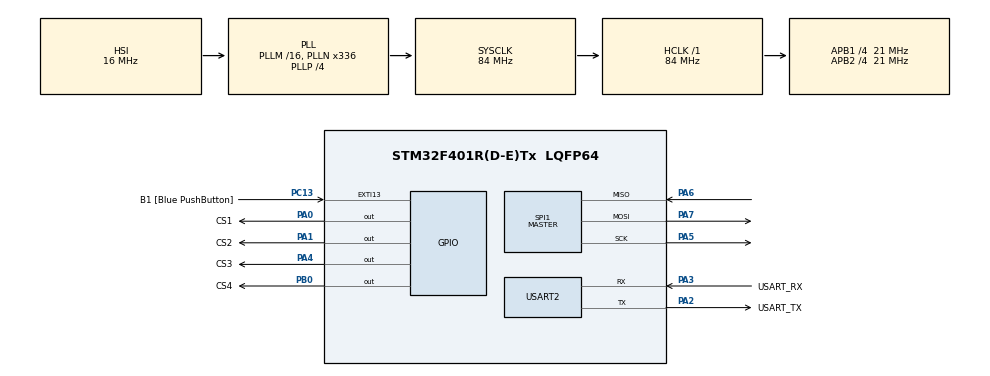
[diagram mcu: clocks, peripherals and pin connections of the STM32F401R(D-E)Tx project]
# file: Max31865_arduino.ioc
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Mcu.Family=STM32F4
Mcu.Name=STM32F401R(D-E)Tx
Mcu.Package=LQFP64
NVIC.PriorityGroup=NVIC_PRIORITYGROUP_0
PA0-WKUP.GPIO_Label=CS1
PA0-WKUP.GPIO_PuPd=GPIO_NOPULL
PA0-WKUP.PinState=GPIO_PIN_SET
PA0-WKUP.Signal=GPIO_Output
PA1.GPIO_Label=CS2
PA1.GPIO_PuPd=GPIO_NOPULL
PA1.PinState=GPIO_PIN_SET
PA1.Signal=GPIO_Output
PA13.GPIO_Label=TMS
PA13.Mode=Serial_Wire
PA13.Signal=SYS_JTMS-SWDIO
PA14.GPIO_Label=TCK
PA14.Mode=Serial_Wire
PA14.Signal=SYS_JTCK-SWCLK
PA2.GPIO_Label=USART_TX
PA2.GPIO_Mode=GPIO_MODE_AF_PP
PA2.GPIO_PuPd=GPIO_NOPULL
PA2.GPIO_Speed=GPIO_SPEED_FREQ_LOW
PA2.Mode=Asynchronous
PA2.Signal=USART2_TX
PA3.GPIO_Label=USART_RX
PA3.GPIO_Mode=GPIO_MODE_AF_PP
PA3.GPIO_PuPd=GPIO_NOPULL
PA3.GPIO_Speed=GPIO_SPEED_FREQ_LOW
PA3.Mode=Asynchronous
PA3.Signal=USART2_RX
PA4.GPIO_Label=CS3
PA4.GPIO_PuPd=GPIO_NOPULL
PA4.PinState=GPIO_PIN_SET
PA4.Signal=GPIO_Output
PA5.Mode=Full_Duplex_Master
PA5.Signal=SPI1_SCK
PA6.Mode=Full_Duplex_Master
PA6.Signal=SPI1_MISO
PA7.Mode=Full_Duplex_Master
PA7.Signal=SPI1_MOSI
PB0.GPIO_Label=CS4
PB0.GPIO_PuPd=GPIO_NOPULL
PB0.PinState=GPIO_PIN_SET
PB0.Signal=GPIO_Output
PB3.GPIO_Label=SWO
PB3.Signal=SYS_JTDO-SWO
PC13-ANTI_TAMP.GPIO_Label=B1 [Blue PushButton]
PC13-ANTI_TAMP.GPIO_ModeDefaultEXTI=GPIO_MODE_IT_FALLING
PC13-ANTI_TAMP.GPIO_PuPd=GPIO_NOPULL
PC13-ANTI_TAMP.Signal=GPXTI13
PC14-OSC32_IN.Mode=LSE-External-Oscillator
PC14-OSC32_IN.Signal=RCC_OSC32_IN
PC15-OSC32_OUT.Mode=LSE-External-Oscillator
PC15-OSC32_OUT.Signal=RCC_OSC32_OUT
PH0\ -\ OSC_IN.Mode=HSE-External-Clock-Source
PH0\ -\ OSC_IN.Signal=RCC_OSC_IN
PH1\ -\ OSC_OUT.Mode=HSE-External-Clock-Source
PH1\ -\ OSC_OUT.Signal=RCC_OSC_OUT
ProjectManager.HeapSize=0x200
ProjectManager.StackSize=0x400
ProjectManager.TargetToolchain=STM32CubeIDE
RCC.48MHZClocksFreq_Value=48000000
RCC.AHBFreq_Value=84000000
RCC.APB1CLKDivider=RCC_HCLK_DIV4
RCC.APB1Freq_Value=21000000
RCC.APB1TimFreq_Value=42000000
RCC.APB2CLKDivider=RCC_HCLK_DIV4
RCC.APB2Freq_Value=21000000
RCC.APB2TimFreq_Value=42000000
RCC.CortexFreq_Value=84000000
RCC.HCLKFreq_Value=84000000
RCC.HSE_VALUE=8000000
RCC.HSI_VALUE=16000000
RCC.PLLN=336
RCC.PLLP=RCC_PLLP_DIV4
RCC.PLLQ=7
RCC.SYSCLKFreq_VALUE=84000000
RCC.SYSCLKSource=RCC_SYSCLKSOURCE_PLLCLK
RCC.VCOOutputFreq_Value=336000000
SPI1.BaudRatePrescaler=SPI_BAUDRATEPRESCALER_256
SPI1.CLKPhase=SPI_PHASE_2EDGE
SPI1.Direction=SPI_DIRECTION_2LINES
SPI1.Mode=SPI_MODE_MASTER
SPI1.VirtualType=VM_MASTER
USART2.VirtualMode=VM_ASYNC
board=NUCLEO-F401RE

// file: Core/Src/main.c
/* USER CODE BEGIN Header */
/**
  ******************************************************************************
  * @file           : main.c
  * @brief          : Main program body
  ******************************************************************************
  * @attention
  *
  * Copyright (c) 2023 STMicroelectronics.
  * All rights reserved.
  *
  * This software is licensed under terms that can be found in the LICENSE file
  * in the root directory of this software component.
  * If no LICENSE file comes with this software, it is provided AS-IS.
  *
  ******************************************************************************
  */
/* USER CODE END Header */
#include <stdio.h>
#include "main.h"
#include "spi.h"
#include "usart.h"
#include "gpio.h"
#include "stm32f4xx_hal.h"

/* USER CODE BEGIN Includes */
#include "MAX31865.h"
#include "Shield_4_MAX31865.h"

/* USER CODE END Includes */

void SystemClock_Config(void);

/* USER CODE BEGIN 0 */
void Shield_NewData(Shield_4_MAX31865_Handler h,uint8_t Channel,float Temp,bool fault, Fault_Status_Register_ts Fault_Status_Register);

void Shield_NewData(Shield_4_MAX31865_Handler h,uint8_t Channel,float Temp,bool fault, Fault_Status_Register_ts Fault_Status_Register)
{
	printf("Ch%d=%.1f (Fault=%d  %d) \r\n",Channel,Temp,fault,Fault_Status_Register.asU8);
}
/* USER CODE END 0 */

int main(void)
{

  /* MCU Configuration--------------------------------------------------------*/

  /* Reset of all peripherals, Initializes the Flash interface and the Systick. */
  HAL_Init();

  /* Configure the system clock */
  SystemClock_Config();

  /* Initialize all configured peripherals */
  MX_GPIO_Init();
  MX_USART2_UART_Init();
  MX_SPI1_Init();

  /* USER CODE BEGIN 2 */
  Configuration_Register_ts MaxConf =
  {
	  .RTD_3Wire = 1,
	  .Filter_Select = 1,
	  .FaultStatusCLear = 0,
	  .Fault_Detection_Cycle_Control = Fault_Detection_Ctl_NoAction,
	  .OneShot = 0,
	  .Vbias = 1,
  };

  Configuration_Register_ts MaxConfArray[4] = {MaxConf,MaxConf,MaxConf,MaxConf};
  MAX31865_Init_ts MAX31865_Init_struct =
  {
	.Handler_Spi = &hspi1,
	.PT100x_Parameters = {	.R0 = 100.0, .A= A_IEC751 , .B = B_IEC751} ,
	.R_Ref = 400.0,
	.HighTempthreshold = 120,
	.LowTempthreshold = -10,
  };

  MAX31865_handler MAX31865Array[4];
  MAX31865Array[0] = MAX31865_Create( &MAX31865_Init_struct ,CS1_GPIO_Port,CS1_Pin );
  MAX31865Array[1] = MAX31865_Create( &MAX31865_Init_struct ,CS2_GPIO_Port,CS2_Pin );
  MAX31865Array[2] = MAX31865_Create( &MAX31865_Init_struct ,CS3_GPIO_Port,CS3_Pin );
  MAX31865Array[3] = MAX31865_Create( &MAX31865_Init_struct ,CS4_GPIO_Port,CS4_Pin );

  Shield_4_MAX31865_Handler Shield_Handler = Shield_4_MAX31865_Create(MAX31865Array ,MaxConfArray);
  Shield_4_MAX31865_Init(Shield_Handler,Shield_NewData);
  Shield_4_MAX31865_DisableChannel(Shield_Handler ,2);
  Shield_4_MAX31865_DisableChannel(Shield_Handler ,3);
  Shield_4_MAX31865_DisableChannel(Shield_Handler ,4);
  Shield_4_MAX31865_SetFilterCoef(Shield_Handler ,1,0.5);
  /* USER CODE END 2 */

  /* Infinite loop */
  while (1)
  {

    /* USER CODE BEGIN 3 */
	  Shield_4_MAX31865_Update(Shield_Handler);
	  if(HAL_GPIO_ReadPin(B1_GPIO_Port, B1_Pin) == GPIO_PIN_RESET )
	  {
		  Shield_4_MAX31865_ClearError(Shield_Handler ,1);
		  Shield_4_MAX31865_ClearError(Shield_Handler ,2);
		  Shield_4_MAX31865_ClearError(Shield_Handler ,3);
		  Shield_4_MAX31865_ClearError(Shield_Handler ,4);
	  }
	  HAL_Delay(25);

	//  printf("\r\n");

  }
  /* USER CODE END 3 */
}

void SystemClock_Config(void)
{
  RCC_OscInitTypeDef RCC_OscInitStruct = {0};
  RCC_ClkInitTypeDef RCC_ClkInitStruct = {0};

  /** Configure the main internal regulator output voltage
  */
  __HAL_RCC_PWR_CLK_ENABLE();
  __HAL_PWR_VOLTAGESCALING_CONFIG(PWR_REGULATOR_VOLTAGE_SCALE2);

  /** Initializes the RCC Oscillators according to the specified parameters
  * in the RCC_OscInitTypeDef structure.
  */
  RCC_OscInitStruct.OscillatorType = RCC_OSCILLATORTYPE_HSI;
  RCC_OscInitStruct.HSIState = RCC_HSI_ON;
  RCC_OscInitStruct.HSICalibrationValue = RCC_HSICALIBRATION_DEFAULT;
  RCC_OscInitStruct.PLL.PLLState = RCC_PLL_ON;
  RCC_OscInitStruct.PLL.PLLSource = RCC_PLLSOURCE_HSI;
  RCC_OscInitStruct.PLL.PLLM = 16;
  RCC_OscInitStruct.PLL.PLLN = 336;
  RCC_OscInitStruct.PLL.PLLP = RCC_PLLP_DIV4;
  RCC_OscInitStruct.PLL.PLLQ = 7;
  if (HAL_RCC_OscConfig(&RCC_OscInitStruct) != HAL_OK)
  {
    Error_Handler();
  }

  /** Initializes the CPU, AHB and APB buses clocks
  */
  RCC_ClkInitStruct.ClockType = RCC_CLOCKTYPE_HCLK|RCC_CLOCKTYPE_SYSCLK|RCC_CLOCKTYPE_PCLK1|RCC_CLOCKTYPE_PCLK2;
  RCC_ClkInitStruct.SYSCLKSource = RCC_SYSCLKSOURCE_PLLCLK;
  RCC_ClkInitStruct.AHBCLKDivider = RCC_SYSCLK_DIV1;
  RCC_ClkInitStruct.APB1CLKDivider = RCC_HCLK_DIV4;
  RCC_ClkInitStruct.APB2CLKDivider = RCC_HCLK_DIV4;

  if (HAL_RCC_ClockConfig(&RCC_ClkInitStruct, FLASH_LATENCY_2) != HAL_OK)
  {
    Error_Handler();
  }
}

/* USER CODE BEGIN 4 */

 int __io_putchar(int ch)
{
	 HAL_UART_Transmit(&huart2,(const uint8_t*) &ch,1,100);
	 return 1;
}
/* USER CODE END 4 */

void Error_Handler(void)
{
  __disable_irq();
  while (1)
  {
  }
}
